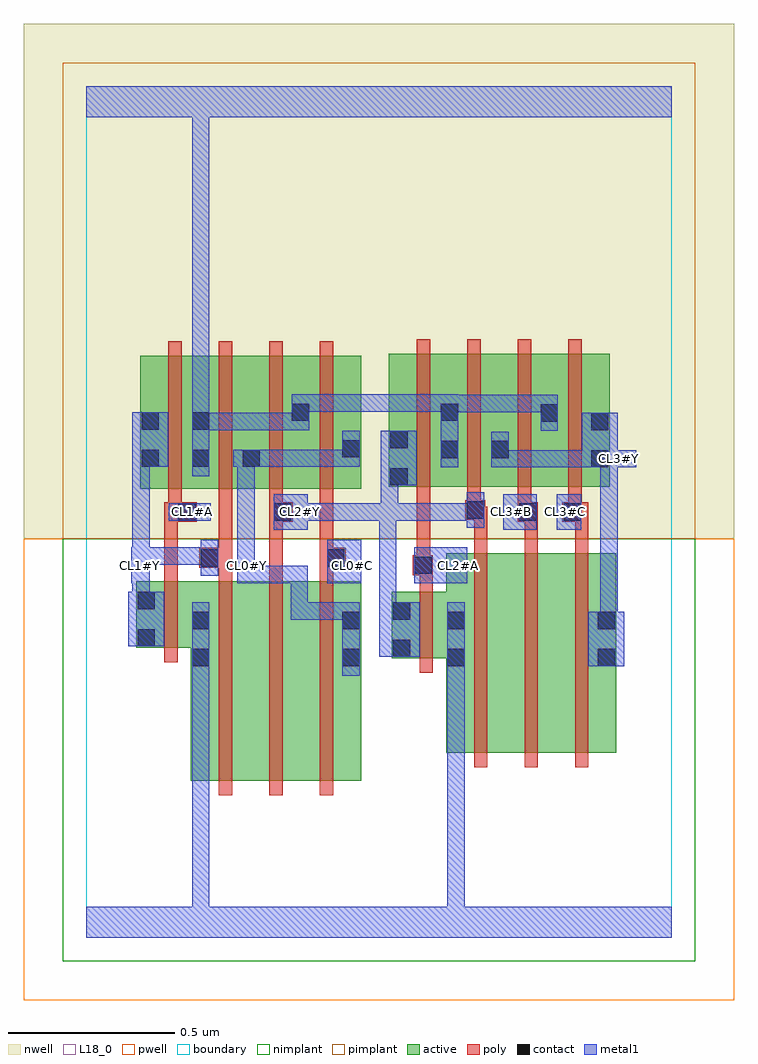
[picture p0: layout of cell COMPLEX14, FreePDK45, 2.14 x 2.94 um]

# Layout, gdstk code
import gdstk
lib = gdstk.Library(unit=1e-6, precision=1e-09)
def R(c, l, rs):  # rectangles x0, y0, x1, y1
    for r in rs: c.add(gdstk.rectangle(r[:2], r[2:], *l))
def A(c, l, x, y, w, h, nx, ny, dx, dy):  # array of equal rectangles
    R(c, l, [(x+i*dx, y+j*dy, x+i*dx+w, y+j*dy+h) for i in range(nx) for j in range(ny)])
active = (1, 0)
pwell = (2, 0)
nwell = (3, 0)
nimplant = (4, 0)
pimplant = (5, 0)
poly = (9, 0)
contact = (10, 0)
metal1 = (11, 0)
L18_0 = (18, 0)
boundary = (235, 0)

complex14 = lib.new_cell('COMPLEX14')
A(complex14, active, 0.91, 1.356, 0.06, 0.288, 3, 1, 0.152, 0)
R(complex14, active, [(0.314,0.472,0.494,1.072), (0.494,0.472,0.646,1.072), (0.646,0.472,0.826,1.072), (0.766,0.556,0.826,1.072), (1.082,0.556,1.262,1.156), (1.082,0.556,1.142,1.04), (1.262,0.556,1.414,1.156), (1.414,0.556,1.594,1.156), (1.534,0.556,1.594,1.156), (0.314,0.812,0.374,0.984), (0.918,0.84,1.142,1.04), (0.918,0.84,0.978,1.04), (0.15,0.872,0.374,1.072), (0.15,0.872,0.21,1.072), (0.162,1.35,0.374,1.75), (0.162,1.35,0.222,1.75), (0.314,1.35,0.526,1.75), (0.314,1.35,0.374,1.644), (0.466,1.35,0.674,1.75), (0.466,1.35,0.526,1.644), (0.614,1.35,0.826,1.75), (0.614,1.35,0.674,1.644), (0.766,1.35,0.826,1.644), (0.91,1.356,1.122,1.756), (1.062,1.356,1.274,1.756), (1.214,1.356,1.422,1.756), (1.362,1.356,1.422,1.644), (1.362,1.356,1.574,1.756), (1.514,1.356,1.574,1.644)])
R(complex14, pwell, [(-0.188,-0.188,1.948,1.2)])
R(complex14, nwell, [(-0.188,1.2,1.948,2.748)])
R(complex14, nimplant, [(-0.072,-0.072,1.832,1.2)])
R(complex14, pimplant, [(-0.072,1.2,1.832,2.632)])
A(complex14, poly, 0.398, 0.428, 0.04, 0.688, 3, 1, 0.152, 0)
A(complex14, poly, 1.166, 0.512, 0.04, 0.688, 3, 1, 0.152, 0)
A(complex14, poly, 0.246, 1.306, 0.04, 0.488, 4, 1, 0.152, 0)
A(complex14, poly, 0.994, 1.312, 0.04, 0.488, 4, 1, 0.152, 0)
R(complex14, poly, [(1.002,0.796,1.042,1.084), (0.234,0.828,0.274,1.116), (1.002,1.044,1.042,1.13), (0.234,1.076,0.274,1.29), (0.398,1.076,0.438,1.152), (0.55,1.076,0.59,1.29), (0.702,1.076,0.742,1.152), (0.982,1.09,1.042,1.15), (0.994,1.11,1.034,1.15), (0.994,1.11,1.034,1.15), (0.994,1.11,1.034,1.352), (0.34,1.112,0.438,1.172), (0.702,1.112,0.78,1.172), (0.398,1.132,0.438,1.172), (0.398,1.132,0.438,1.172), (0.398,1.132,0.438,1.346), (0.702,1.132,0.742,1.172), (0.702,1.132,0.742,1.172), (0.702,1.132,0.742,1.346), (1.166,1.16,1.206,1.296), (1.318,1.16,1.358,1.29), (1.47,1.16,1.51,1.29), (0.234,1.25,0.274,1.29), (0.234,1.25,0.274,1.29), (0.234,1.25,0.332,1.31), (0.55,1.25,0.59,1.29), (0.55,1.25,0.59,1.29), (0.55,1.25,0.62,1.31), (1.298,1.25,1.358,1.31), (1.432,1.25,1.51,1.31), (1.14,1.256,1.2,1.316), (1.16,1.256,1.2,1.296), (1.16,1.256,1.206,1.296), (0.246,1.27,0.286,1.346), (0.55,1.27,0.59,1.346), (1.298,1.27,1.338,1.352), (1.298,1.27,1.338,1.31), (1.298,1.27,1.338,1.31), (1.45,1.27,1.49,1.352), (1.45,1.27,1.49,1.31), (1.45,1.27,1.49,1.31), (1.146,1.276,1.186,1.352)])
A(complex14, contact, 0.166, 1.416, 0.052, 0.052, 3, 1, 0.152, 0)
R(complex14, contact, [(0.318,0.816,0.37,0.868), (0.77,0.816,0.822,0.868), (1.086,0.816,1.138,0.868), (1.538,0.816,1.59,0.868), (0.922,0.844,0.974,0.896), (0.154,0.876,0.206,0.928), (0.318,0.928,0.37,0.98), (0.77,0.928,0.822,0.98), (1.086,0.928,1.138,0.98), (1.538,0.928,1.59,0.98), (0.922,0.956,0.974,1.008), (0.154,0.988,0.206,1.04), (0.986,1.094,1.038,1.146), (0.344,1.116,0.396,1.168), (0.724,1.116,0.776,1.168), (0.276,1.254,0.328,1.306), (0.564,1.254,0.616,1.306), (1.302,1.254,1.354,1.306), (1.436,1.254,1.488,1.306), (1.144,1.26,1.196,1.312), (0.914,1.36,0.966,1.412), (1.518,1.414,1.57,1.466), (1.066,1.442,1.118,1.494), (1.218,1.442,1.27,1.494), (0.77,1.444,0.822,1.496), (0.914,1.472,0.966,1.524), (1.518,1.526,1.57,1.578), (0.166,1.528,0.218,1.58), (0.318,1.528,0.37,1.58), (1.366,1.552,1.418,1.604), (0.618,1.554,0.67,1.606), (1.066,1.554,1.118,1.606)])
R(complex14, metal1, [(0,0,1.76,0.092), (0.318,0.04,0.37,0.092), (0.318,0.04,0.37,0.092), (0.318,0.04,0.37,0.84), (1.086,0.04,1.138,0.092), (1.086,0.04,1.138,0.092), (1.086,0.04,1.138,0.092), (1.086,0.04,1.138,0.092), (1.086,0.04,1.138,0.092), (1.086,0.04,1.138,0.092), (1.086,0.04,1.138,0.092), (1.086,0.04,1.138,0.092), (1.086,0.04,1.138,0.84), (0.318,0.788,0.37,0.84), (0.318,0.788,0.37,0.84), (0.318,0.788,0.37,0.84), (0.318,0.788,0.37,0.84), (0.318,0.788,0.37,0.84), (0.318,0.788,0.37,0.84), (0.318,0.788,0.37,1.008), (0.77,0.788,0.822,1.008), (1.086,0.788,1.138,1.008), (1.51,0.816,1.618,0.98), (0.88,0.844,1.002,1.008), (0.126,0.876,0.234,1.04), (1.546,0.928,1.598,1.466), (0.614,0.956,0.666,1.008), (0.614,0.956,0.822,1.008), (0.614,0.956,0.666,1.118), (0.77,0.956,0.822,1.008), (0.77,0.956,0.822,1.008), (0.88,0.956,0.932,1.306), (0.138,0.988,0.19,1.118), (0.134,1.066,0.19,1.174), (0.454,1.066,0.506,1.174), (0.454,1.066,0.666,1.118), (0.614,1.066,0.666,1.118), (0.614,1.066,0.666,1.118), (0.614,1.066,0.666,1.118), (0.724,1.066,0.826,1.196), (0.986,1.066,1.146,1.174), (0.344,1.088,0.396,1.196), (0.138,1.122,0.19,1.174), (0.138,1.122,0.19,1.174), (0.138,1.122,0.19,1.174), (0.138,1.122,0.19,1.174), (0.138,1.122,0.356,1.174), (0.138,1.122,0.19,1.468), (0.304,1.122,0.356,1.174), (0.304,1.122,0.396,1.174), (0.454,1.122,0.506,1.468), (0.564,1.226,0.666,1.334), (1.254,1.226,1.354,1.334), (1.414,1.226,1.488,1.334), (1.144,1.232,1.196,1.34), (0.248,1.254,0.374,1.306), (0.614,1.254,0.666,1.306), (0.614,1.254,0.666,1.306), (0.614,1.254,0.822,1.306), (0.77,1.254,0.822,1.306), (0.77,1.254,0.822,1.306), (0.77,1.254,0.822,1.306), (0.77,1.254,0.932,1.306), (0.88,1.254,0.932,1.306), (0.88,1.254,0.932,1.306), (0.88,1.254,0.938,1.306), (0.886,1.254,0.938,1.306), (0.886,1.254,0.938,1.306), (0.886,1.254,1.104,1.306), (0.886,1.254,0.938,1.412), (1.052,1.254,1.104,1.306), (1.052,1.254,1.196,1.306), (0.886,1.36,0.994,1.524), (0.318,1.388,0.37,1.608), (1.066,1.414,1.118,1.634), (1.218,1.414,1.27,1.466), (1.218,1.414,1.27,1.466), (1.218,1.414,1.27,1.522), (1.218,1.414,1.432,1.466), (1.38,1.414,1.432,1.466), (1.38,1.414,1.432,1.466), (1.38,1.414,1.432,1.466), (1.38,1.414,1.542,1.466), (1.49,1.414,1.598,1.578), (1.546,1.414,1.598,1.466), (1.546,1.414,1.598,1.466), (1.546,1.414,1.598,1.466), (1.546,1.414,1.654,1.466), (0.138,1.416,0.246,1.58), (0.442,1.416,0.55,1.468), (0.454,1.416,0.506,1.468), (0.454,1.416,0.506,1.468), (0.498,1.416,0.55,1.468), (0.498,1.416,0.55,1.468), (0.498,1.416,0.712,1.468), (0.66,1.416,0.712,1.468), (0.66,1.416,0.822,1.468), (0.77,1.416,0.822,1.468), (0.77,1.416,0.822,1.468), (0.77,1.416,0.822,1.524), (1.366,1.524,1.418,1.632), (0.318,1.526,0.37,1.578), (0.318,1.526,0.37,1.578), (0.318,1.526,0.556,1.578), (0.504,1.526,0.556,1.578), (0.504,1.526,0.556,1.578), (0.504,1.526,0.556,1.578), (0.504,1.526,0.67,1.578), (0.618,1.526,0.67,1.634), (0.318,1.556,0.37,1.608), (0.318,1.556,0.37,1.608), (0.318,1.556,0.37,2.52), (1.066,1.58,1.118,1.632), (1.066,1.58,1.118,1.632), (1.066,1.58,1.228,1.632), (1.176,1.58,1.228,1.632), (1.176,1.58,1.228,1.632), (1.176,1.58,1.228,1.632), (1.176,1.58,1.418,1.632), (0.618,1.582,0.822,1.634), (0.77,1.582,0.822,1.634), (0.77,1.582,0.822,1.634), (0.77,1.582,0.822,1.634), (0.77,1.582,0.936,1.634), (0.884,1.582,0.936,1.634), (0.884,1.582,0.936,1.634), (0.884,1.582,0.936,1.634), (0.884,1.582,1.118,1.634), (0,2.468,1.76,2.56), (0.318,2.468,0.37,2.52), (0.318,2.468,0.37,2.52), (0.318,2.468,0.37,2.52), (0.318,2.468,0.37,2.52), (0.318,2.468,0.37,2.52), (0.318,2.468,0.37,2.52), (0.318,2.468,0.37,2.52), (0.318,2.468,0.37,2.52), (0.318,2.468,0.37,2.52), (0.318,2.468,0.37,2.52), (0.318,2.468,0.37,2.52), (0.318,2.468,0.37,2.52), (0.318,2.468,0.37,2.52), (0.318,2.468,0.37,2.52)])
A(complex14, L18_0, 0.134, 1.094, 0.052, 0.052, 4, 1, 0.32, 0)
R(complex14, L18_0, [(0,0,1.76,0.092), (0.318,0.04,0.37,0.092), (0.318,0.04,0.37,0.092), (0.318,0.04,0.37,0.84), (1.086,0.04,1.138,0.092), (1.086,0.04,1.138,0.092), (1.086,0.04,1.138,0.092), (1.086,0.04,1.138,0.092), (1.086,0.04,1.138,0.092), (1.086,0.04,1.138,0.092), (1.086,0.04,1.138,0.092), (1.086,0.04,1.138,0.092), (1.086,0.04,1.138,0.84), (0.318,0.788,0.37,0.84), (0.318,0.788,0.37,0.84), (0.318,0.788,0.37,0.84), (0.318,0.788,0.37,0.84), (0.318,0.788,0.37,0.84), (0.318,0.788,0.37,0.84), (0.318,0.788,0.37,1.008), (0.77,0.788,0.822,1.008), (1.086,0.788,1.138,1.008), (1.51,0.816,1.618,0.98), (0.88,0.844,1.002,1.008), (0.126,0.876,0.234,1.04), (1.546,0.928,1.598,1.466), (0.614,0.956,0.666,1.008), (0.614,0.956,0.666,1.118), (0.614,0.956,0.822,1.008), (0.77,0.956,0.822,1.008), (0.77,0.956,0.822,1.008), (0.88,0.956,0.932,1.306), (0.138,0.988,0.19,1.118), (0.134,1.066,0.19,1.174), (0.454,1.066,0.506,1.174), (0.454,1.066,0.666,1.118), (0.614,1.066,0.666,1.118), (0.614,1.066,0.666,1.118), (0.614,1.066,0.666,1.118), (0.724,1.066,0.826,1.196), (0.986,1.066,1.146,1.174), (0.344,1.088,0.396,1.196), (0.138,1.122,0.19,1.174), (0.138,1.122,0.19,1.174), (0.138,1.122,0.19,1.174), (0.138,1.122,0.19,1.174), (0.138,1.122,0.19,1.468), (0.138,1.122,0.356,1.174), (0.304,1.122,0.356,1.174), (0.304,1.122,0.396,1.174), (0.454,1.122,0.506,1.468), (0.564,1.226,0.666,1.334), (1.254,1.226,1.354,1.334), (1.414,1.226,1.488,1.334), (1.144,1.232,1.196,1.34), (0.248,1.254,0.374,1.306), (0.294,1.254,0.346,1.306), (0.614,1.254,0.666,1.306), (0.614,1.254,0.666,1.306), (0.614,1.254,0.666,1.306), (0.614,1.254,0.822,1.306), (0.77,1.254,0.822,1.306), (0.77,1.254,0.822,1.306), (0.77,1.254,0.822,1.306), (0.77,1.254,0.932,1.306), (0.88,1.254,0.932,1.306), (0.88,1.254,0.932,1.306), (0.88,1.254,0.938,1.306), (0.886,1.254,0.938,1.306), (0.886,1.254,0.938,1.306), (0.886,1.254,1.104,1.306), (0.886,1.254,0.938,1.412), (1.052,1.254,1.104,1.306), (1.052,1.254,1.196,1.306), (1.254,1.254,1.306,1.306), (1.414,1.254,1.466,1.306), (0.886,1.36,0.994,1.524), (0.318,1.388,0.37,1.608), (1.066,1.414,1.118,1.634), (1.218,1.414,1.27,1.466), (1.218,1.414,1.27,1.466), (1.218,1.414,1.27,1.522), (1.218,1.414,1.432,1.466), (1.38,1.414,1.432,1.466), (1.38,1.414,1.432,1.466), (1.38,1.414,1.432,1.466), (1.38,1.414,1.542,1.466), (1.49,1.414,1.598,1.578), (1.546,1.414,1.598,1.466), (1.546,1.414,1.598,1.466), (1.546,1.414,1.598,1.466), (1.546,1.414,1.654,1.466), (1.574,1.414,1.626,1.466), (0.138,1.416,0.246,1.58), (0.442,1.416,0.55,1.468), (0.454,1.416,0.506,1.468), (0.454,1.416,0.506,1.468), (0.498,1.416,0.55,1.468), (0.498,1.416,0.55,1.468), (0.498,1.416,0.712,1.468), (0.66,1.416,0.712,1.468), (0.66,1.416,0.822,1.468), (0.77,1.416,0.822,1.468), (0.77,1.416,0.822,1.468), (0.77,1.416,0.822,1.524), (1.366,1.524,1.418,1.632), (0.318,1.526,0.37,1.578), (0.318,1.526,0.37,1.578), (0.318,1.526,0.556,1.578), (0.504,1.526,0.556,1.578), (0.504,1.526,0.556,1.578), (0.504,1.526,0.556,1.578), (0.504,1.526,0.67,1.578), (0.618,1.526,0.67,1.634), (0.318,1.556,0.37,1.608), (0.318,1.556,0.37,1.608), (0.318,1.556,0.37,2.52), (1.066,1.58,1.118,1.632), (1.066,1.58,1.118,1.632), (1.066,1.58,1.228,1.632), (1.176,1.58,1.228,1.632), (1.176,1.58,1.228,1.632), (1.176,1.58,1.228,1.632), (1.176,1.58,1.418,1.632), (0.618,1.582,0.822,1.634), (0.77,1.582,0.822,1.634), (0.77,1.582,0.822,1.634), (0.77,1.582,0.822,1.634), (0.77,1.582,0.936,1.634), (0.884,1.582,0.936,1.634), (0.884,1.582,0.936,1.634), (0.884,1.582,0.936,1.634), (0.884,1.582,1.118,1.634), (0,2.468,1.76,2.56), (0.318,2.468,0.37,2.52), (0.318,2.468,0.37,2.52), (0.318,2.468,0.37,2.52), (0.318,2.468,0.37,2.52), (0.318,2.468,0.37,2.52), (0.318,2.468,0.37,2.52), (0.318,2.468,0.37,2.52), (0.318,2.468,0.37,2.52), (0.318,2.468,0.37,2.52), (0.318,2.468,0.37,2.52), (0.318,2.468,0.37,2.52), (0.318,2.468,0.37,2.52), (0.318,2.468,0.37,2.52), (0.318,2.468,0.37,2.52)])
R(complex14, boundary, [(0,0,1.76,2.56)])
complex14.add(gdstk.Label('CL0#C', (0.8,1.12), layer=11, texttype=0))
complex14.add(gdstk.Label('CL0#Y', (0.48,1.12), layer=11, texttype=0))
complex14.add(gdstk.Label('CL1#A', (0.32,1.28), layer=11, texttype=0))
complex14.add(gdstk.Label('CL1#Y', (0.16,1.12), layer=11, texttype=0))
complex14.add(gdstk.Label('CL2#A', (1.12,1.12), layer=11, texttype=0))
complex14.add(gdstk.Label('CL2#Y', (0.64,1.28), layer=11, texttype=0))
complex14.add(gdstk.Label('CL3#B', (1.28,1.28), layer=11, texttype=0))
complex14.add(gdstk.Label('CL3#C', (1.44,1.28), layer=11, texttype=0))
complex14.add(gdstk.Label('CL3#Y', (1.6,1.44), layer=11, texttype=0))

lib.write_gds('COMPLEX14.gds')
